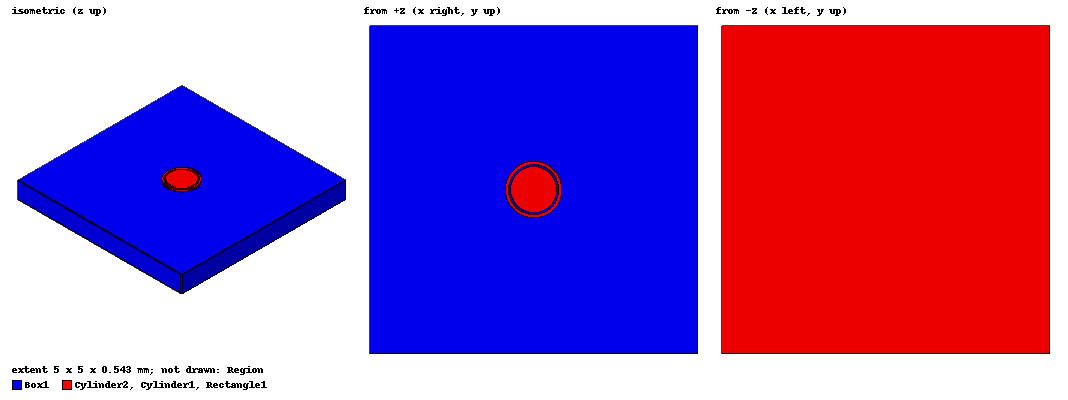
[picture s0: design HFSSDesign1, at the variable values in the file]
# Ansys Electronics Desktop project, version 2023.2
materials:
  vacuum: permittivity=1
  Rogers RT/duroid 5880 (tm): permittivity=2.2 dielectric_loss_tangent=0.0009
  pec: conductivity=1e+30
  copper: permeability=0.999991 conductivity=58000000

design HFSSDesign1 (HFSS, HFSS Modal Network, model units mm)
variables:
  margin = 1mm
  factor = 1
  parameters = [0.35, 0.0299, 0.0498, 0.508, 5] mm
  radius = parameters[0]
  bigRad = radius+sep
  sep = parameters[1]
  thick = parameters[2]
  H = parameters[3]
  Xsize = parameters[4]
  Ysize = parameters[4]
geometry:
  Rectangle1 = rectangle(corner=(0mm, 0mm, 0mm), x_size=Xsize, y_size=Ysize)
  Box1 [Rogers RT/duroid 5880 (tm)] = box(corner=(0mm, 0mm, 0mm), size=(Xsize, Ysize, H))
  Cylinder1 [copper] = cylinder(axis=Z, base_centre=(Xsize/2, Ysize/2, H), radius=radius, height=0.035mm)
  Region [vacuum] = region(absolute_offset: +X=0mm, -X=0mm, +Y=0mm, -Y=0mm, +Z=10mm, -Z=10mm)
  Cylinder2 [copper] = cylinder(axis=Z, base_centre=(Xsize/2, Ysize/2, H), radius=(radius+sep+thick)*factor, height=0.035mm)
  Cylinder3 = cylinder(axis=Z, base_centre=(Xsize/2, Ysize/2, H), radius=(radius+sep)*factor, height=0.035mm)
  Cylinder2.subtract(Cylinder3)
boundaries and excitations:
  PerfE1: Perfect E Objects=Rectangle1
  Primary1: Primary Faces=Region.face(+x) CoordSysVector{(5, 0, 10.543) -> (5, 5, 10.543)}
  Primary2: Primary Faces=Region.face(+y) CoordSysVector{(5, 5, 10.543) -> (0, 5, 10.543)}
  Secondary1: Secondary Faces=Region.face(-y) CoordSysVector{(5, 0, 10.543) -> (0, 0, 10.543)} ReverseV primary=Primary2 PhaseDelay=UseScanAngle Phi=0deg Theta=0deg
  Secondary2: Secondary Faces=Region.face(-x) CoordSysVector{(0, 0, 10.543) -> (0, 5, 10.543)} ReverseV primary=Primary1 PhaseDelay=UseScanAngle Phi=0deg Theta=0deg
  FloquetPort1: Floquet Port Faces=Region.face(+z) NumModes=2 DeembedDist=10mm Modes{Mode1{CharImp=Zpi} Mode2{CharImp=Zpi}} PhaseDelay=UseScanAngle Phi=0deg Theta=0deg LatticeAVector{(5, 0, 10.543) -> (5, 5, 10.543)} LatticeBVector{(5, 0, 10.543) -> (0, 0, 10.543)} ModesList{Mode{ModeNumber=1 IndexM=0 IndexN=0 KC2=0 PropagationState=Propagating Attenuation=0 PolarizationState=TE AffectsRefinement} Mode{ModeNumber=2 IndexM=0 IndexN=0 KC2=0 PropagationState=Propagating Attenuation=0 PolarizationState=TM AffectsRefinement}}
  FloquetPort2: Floquet Port Faces=Region.face(-z) NumModes=2 DeembedDist=10mm Modes{Mode1{CharImp=Zpi} Mode2{CharImp=Zpi}} PhaseDelay=UseScanAngle Phi=0deg Theta=0deg LatticeAVector{(5, 0, -10) -> (5, 5, -10)} LatticeBVector{(5, 0, -10) -> (0, 0, -10)} ModesList{Mode{ModeNumber=1 IndexM=0 IndexN=0 KC2=0 PropagationState=Propagating Attenuation=0 PolarizationState=TE AffectsRefinement} Mode{ModeNumber=2 IndexM=0 IndexN=0 KC2=0 PropagationState=Propagating Attenuation=0 PolarizationState=TM AffectsRefinement}}
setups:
  Setup2: HfssDriven Frequency=76.5GHz MaxDeltaS=0.02 MaximumPasses=5 MinimumPasses=1 MinimumConvergedPasses=1 PercentRefinement=30 BasisOrder=1 PortAccuracy=2 DrivenSolverType="Direct Solver"
    sweep Sweep: 75GHz to 78GHz step 0.03GHz; Type=Interpolating InterpTolerance=0.5 InterpMaxSolns=250 InterpUsePortImped=false PassivityErrorTolerance=0.0001
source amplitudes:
  FloquetPort1:1: 1W 0deg
  FloquetPort1:2, FloquetPort2:1, FloquetPort2:2: 0W 0deg
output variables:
  AbsorbanceTM = 1-((mag(S(FloquetPort1:2,FloquetPort1:2)))^2 +(mag(S(FloquetPort2:2,FloquetPort1:2)))^2)
  Reflectance = (mag(S(FloquetPort1:1,FloquetPort1:1)))^2
